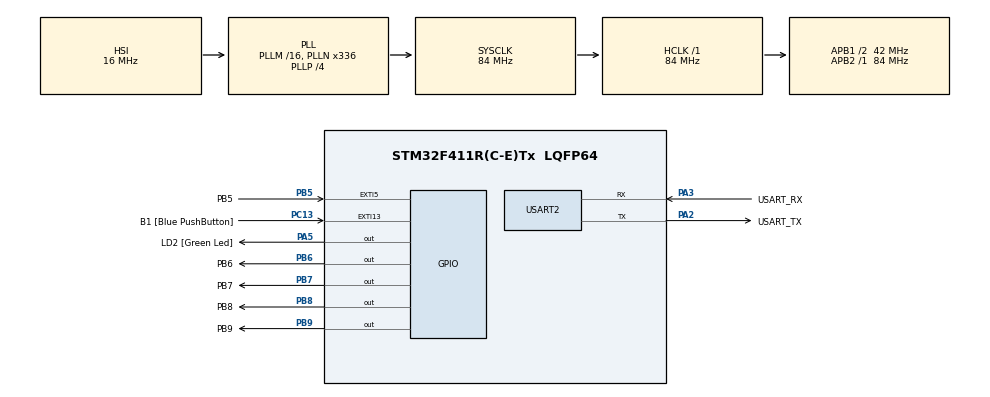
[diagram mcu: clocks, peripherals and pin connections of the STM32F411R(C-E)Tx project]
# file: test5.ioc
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Mcu.Family=STM32F4
Mcu.Name=STM32F411R(C-E)Tx
Mcu.Package=LQFP64
NVIC.EXTI9_5_IRQn=true\:0\:0\:false\:false\:true\:true\:true\:true
NVIC.PriorityGroup=NVIC_PRIORITYGROUP_0
NVIC.TIM1_TRG_COM_TIM11_IRQn=true\:0\:0\:false\:false\:true\:true\:true\:true
NVIC.TIM1_UP_TIM10_IRQn=true\:0\:0\:false\:false\:true\:true\:true\:true
PA13.GPIO_Label=TMS
PA13.Mode=Serial_Wire
PA13.Signal=SYS_JTMS-SWDIO
PA14.GPIO_Label=TCK
PA14.Mode=Serial_Wire
PA14.Signal=SYS_JTCK-SWCLK
PA2.GPIO_Label=USART_TX
PA2.Mode=Asynchronous
PA2.Signal=USART2_TX
PA3.GPIO_Label=USART_RX
PA3.Mode=Asynchronous
PA3.Signal=USART2_RX
PA5.GPIO_Label=LD2 [Green Led]
PA5.Signal=GPIO_Output
PB3.GPIO_Label=SWO
PB3.Signal=SYS_JTDO-SWO
PB5.GPIO_Label=PB5
PB5.GPIO_ModeDefaultEXTI=GPIO_MODE_IT_FALLING
PB5.GPIO_PuPd=GPIO_PULLUP
PB5.Signal=GPXTI5
PB6.GPIO_Label=PB6
PB6.Signal=GPIO_Output
PB7.GPIO_Label=PB7
PB7.Signal=GPIO_Output
PB8.GPIO_Label=PB8
PB8.Signal=GPIO_Output
PB9.GPIO_Label=PB9
PB9.Signal=GPIO_Output
PC13-ANTI_TAMP.GPIO_Label=B1 [Blue PushButton]
PC13-ANTI_TAMP.GPIO_ModeDefaultEXTI=GPIO_MODE_IT_FALLING
PC13-ANTI_TAMP.Signal=GPXTI13
PC14-OSC32_IN.Mode=LSE-External-Oscillator
PC14-OSC32_IN.Signal=RCC_OSC32_IN
PC15-OSC32_OUT.Mode=LSE-External-Oscillator
PC15-OSC32_OUT.Signal=RCC_OSC32_OUT
PH0\ -\ OSC_IN.Mode=HSE-External-Clock-Source
PH0\ -\ OSC_IN.Signal=RCC_OSC_IN
PH1\ -\ OSC_OUT.Mode=HSE-External-Clock-Source
PH1\ -\ OSC_OUT.Signal=RCC_OSC_OUT
ProjectManager.HeapSize=0x200
ProjectManager.StackSize=0x400
ProjectManager.TargetToolchain=STM32CubeIDE
RCC.48MHZClocksFreq_Value=84000000
RCC.AHBFreq_Value=84000000
RCC.APB1CLKDivider=RCC_HCLK_DIV2
RCC.APB1Freq_Value=42000000
RCC.APB1TimFreq_Value=84000000
RCC.APB2Freq_Value=84000000
RCC.APB2TimFreq_Value=84000000
RCC.CortexFreq_Value=84000000
RCC.FLatency-AdvancedSettings=FLASH_LATENCY_2
RCC.HCLKFreq_Value=84000000
RCC.HSE_VALUE=8000000
RCC.HSI_VALUE=16000000
RCC.PLLN=336
RCC.PLLP=RCC_PLLP_DIV4
RCC.SYSCLKFreq_VALUE=84000000
RCC.SYSCLKSource=RCC_SYSCLKSOURCE_PLLCLK
RCC.VCOOutputFreq_Value=336000000
TIM10.Period=499
TIM10.Prescaler=8399
TIM11.Period=4999
TIM11.Prescaler=8399
USART2.VirtualMode=VM_ASYNC
VP_TIM10_VS_ClockSourceINT.Mode=Enable_Timer
VP_TIM11_VS_ClockSourceINT.Mode=Enable_Timer
board=NUCLEO-F411RE

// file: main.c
/* USER CODE BEGIN Header */
/**
  ******************************************************************************
  * @file           : main.c
  * @brief          : Main program body
  ******************************************************************************
  * @attention
  *
  * Copyright (c) 2024 STMicroelectronics.
  * All rights reserved.
  *
  * This software is licensed under terms that can be found in the LICENSE file
  * in the root directory of this software component.
  * If no LICENSE file comes with this software, it is provided AS-IS.
  *
  ******************************************************************************
  */
/* USER CODE END Header */
#include "main.h"

TIM_HandleTypeDef htim10;
TIM_HandleTypeDef htim11;

UART_HandleTypeDef huart2;

/* USER CODE BEGIN PV */
// led flag
volatile uint8_t led_flag = 0;

// button bounce timer
volatile uint8_t button_flag = 1;

// struct LED
GPIO_InitTypeDef GPIO_InitStruct = {0};

// Serial variables
volatile uint8_t buf_tx[100];
volatile uint16_t tx_cnt;
/* USER CODE END PV */

void SystemClock_Config(void);
static void MX_GPIO_Init(void);
static void MX_USART2_UART_Init(void);
static void MX_TIM11_Init(void);
static void MX_TIM10_Init(void);
/* USER CODE BEGIN PFP */
void HAL_TIM_PeriodElapsedCallback(TIM_HandleTypeDef *htim) {
	// timer dla LED
	if (htim->Instance == TIM11) {
		if (led_flag == 0) {

			// zielona 1
			// Ustawieie wysokiej impedancji dla pinu 7 i 9
			GPIO_InitStruct.Pin = PB7_Pin|PB9_Pin;
			GPIO_InitStruct.Mode = GPIO_MODE_INPUT;
		    GPIO_InitStruct.Pull = GPIO_NOPULL;
			HAL_GPIO_Init(GPIOB, &GPIO_InitStruct);

			// Ustawienie output dla pinu 6 i 8
			GPIO_InitStruct.Pin = PB6_Pin|PB8_Pin;
			GPIO_InitStruct.Mode = GPIO_MODE_OUTPUT_PP;
			GPIO_InitStruct.Pull = GPIO_NOPULL;
			GPIO_InitStruct.Speed = GPIO_SPEED_FREQ_LOW;
			HAL_GPIO_Init(GPIOB, &GPIO_InitStruct);

			// Zapalenie diody zielona 1
			HAL_GPIO_WritePin(PB6_GPIO_Port, PB6_Pin, GPIO_PIN_SET);
			HAL_GPIO_WritePin(PB9_GPIO_Port, PB8_Pin, GPIO_PIN_RESET);

			// zmiana diody na czerwoną
			led_flag = 1;
		}

		else if (led_flag == 1) {

			// czerwona 1
			// Ustawieie wysokiej impedancji dla pinu 8 i 9
			GPIO_InitStruct.Pin = PB8_Pin|PB9_Pin;
			GPIO_InitStruct.Mode = GPIO_MODE_INPUT;
			GPIO_InitStruct.Pull = GPIO_NOPULL;
			HAL_GPIO_Init(GPIOB, &GPIO_InitStruct);

			// Ustawienie output dla pinu 6 i 7
			GPIO_InitStruct.Pin = PB6_Pin|PB7_Pin;
			GPIO_InitStruct.Mode = GPIO_MODE_OUTPUT_PP;
			GPIO_InitStruct.Pull = GPIO_NOPULL;
			GPIO_InitStruct.Speed = GPIO_SPEED_FREQ_LOW;
			HAL_GPIO_Init(GPIOB, &GPIO_InitStruct);

			// Zapalenie diody czerwona 1
			HAL_GPIO_WritePin(PB6_GPIO_Port, PB6_Pin, GPIO_PIN_SET);
			HAL_GPIO_WritePin(PB9_GPIO_Port, PB7_Pin, GPIO_PIN_RESET);

			// zmiana diody na zielona
			led_flag = 0;
		}
	}

	// timer dla button bouncing
	if (htim->Instance == TIM10){
		if(HAL_GPIO_ReadPin(PB5_GPIO_Port, PB5_Pin) == GPIO_PIN_RESET) {
			// wysylanie przez uart
			tx_cnt = snprintf(buf_tx, sizeof(buf_tx), "Chodzilem na wyklad\n");
			HAL_UART_Transmit(&huart2, buf_tx, tx_cnt, HAL_MAX_DELAY);
		}
		// zmiana flagi dla przycisku
		button_flag = 1;
		// zatrzymanie timera
		HAL_TIM_Base_Stop_IT(&htim10);
	}
}

void HAL_GPIO_EXTI_Callback(uint16_t GPIO_Pin) {
	if(GPIO_Pin == PB5_Pin && button_flag == 1) {
		// wlaczenie timera
		HAL_TIM_Base_Start_IT(&htim10);

		// zmiana flagi dla przycisku
		button_flag = 0;
	}

	else {
		// nie uzywane
		__NOP();
	}
}

/* USER CODE END PFP */

int main(void)
{

  /* MCU Configuration--------------------------------------------------------*/

  /* Reset of all peripherals, Initializes the Flash interface and the Systick. */
  HAL_Init();

  /* Configure the system clock */
  SystemClock_Config();

  /* Initialize all configured peripherals */
  MX_GPIO_Init();
  MX_USART2_UART_Init();
  MX_TIM11_Init();
  MX_TIM10_Init();
  /* USER CODE BEGIN 2 */
  HAL_TIM_Base_Start_IT(&htim11);
  /* USER CODE END 2 */

  /* Infinite loop */
  while (1)
  {

  }
}

void SystemClock_Config(void)
{
  RCC_OscInitTypeDef RCC_OscInitStruct = {0};
  RCC_ClkInitTypeDef RCC_ClkInitStruct = {0};

  /** Configure the main internal regulator output voltage
  */
  __HAL_RCC_PWR_CLK_ENABLE();
  __HAL_PWR_VOLTAGESCALING_CONFIG(PWR_REGULATOR_VOLTAGE_SCALE1);

  /** Initializes the RCC Oscillators according to the specified parameters
  * in the RCC_OscInitTypeDef structure.
  */
  RCC_OscInitStruct.OscillatorType = RCC_OSCILLATORTYPE_HSI;
  RCC_OscInitStruct.HSIState = RCC_HSI_ON;
  RCC_OscInitStruct.HSICalibrationValue = RCC_HSICALIBRATION_DEFAULT;
  RCC_OscInitStruct.PLL.PLLState = RCC_PLL_ON;
  RCC_OscInitStruct.PLL.PLLSource = RCC_PLLSOURCE_HSI;
  RCC_OscInitStruct.PLL.PLLM = 16;
  RCC_OscInitStruct.PLL.PLLN = 336;
  RCC_OscInitStruct.PLL.PLLP = RCC_PLLP_DIV4;
  RCC_OscInitStruct.PLL.PLLQ = 4;
  if (HAL_RCC_OscConfig(&RCC_OscInitStruct) != HAL_OK)
  {
    Error_Handler();
  }

  /** Initializes the CPU, AHB and APB buses clocks
  */
  RCC_ClkInitStruct.ClockType = RCC_CLOCKTYPE_HCLK|RCC_CLOCKTYPE_SYSCLK
                              |RCC_CLOCKTYPE_PCLK1|RCC_CLOCKTYPE_PCLK2;
  RCC_ClkInitStruct.SYSCLKSource = RCC_SYSCLKSOURCE_PLLCLK;
  RCC_ClkInitStruct.AHBCLKDivider = RCC_SYSCLK_DIV1;
  RCC_ClkInitStruct.APB1CLKDivider = RCC_HCLK_DIV2;
  RCC_ClkInitStruct.APB2CLKDivider = RCC_HCLK_DIV1;

  if (HAL_RCC_ClockConfig(&RCC_ClkInitStruct, FLASH_LATENCY_2) != HAL_OK)
  {
    Error_Handler();
  }
}

static void MX_TIM10_Init(void)
{

  htim10.Instance = TIM10;
  htim10.Init.Prescaler = 8399;
  htim10.Init.CounterMode = TIM_COUNTERMODE_UP;
  htim10.Init.Period = 499;
  htim10.Init.ClockDivision = TIM_CLOCKDIVISION_DIV1;
  htim10.Init.AutoReloadPreload = TIM_AUTORELOAD_PRELOAD_DISABLE;
  if (HAL_TIM_Base_Init(&htim10) != HAL_OK)
  {
    Error_Handler();
  }

}

static void MX_TIM11_Init(void)
{

  htim11.Instance = TIM11;
  htim11.Init.Prescaler = 8399;
  htim11.Init.CounterMode = TIM_COUNTERMODE_UP;
  htim11.Init.Period = 4999;
  htim11.Init.ClockDivision = TIM_CLOCKDIVISION_DIV1;
  htim11.Init.AutoReloadPreload = TIM_AUTORELOAD_PRELOAD_DISABLE;
  if (HAL_TIM_Base_Init(&htim11) != HAL_OK)
  {
    Error_Handler();
  }

}

static void MX_USART2_UART_Init(void)
{

  huart2.Instance = USART2;
  huart2.Init.BaudRate = 115200;
  huart2.Init.WordLength = UART_WORDLENGTH_8B;
  huart2.Init.StopBits = UART_STOPBITS_1;
  huart2.Init.Parity = UART_PARITY_NONE;
  huart2.Init.Mode = UART_MODE_TX_RX;
  huart2.Init.HwFlowCtl = UART_HWCONTROL_NONE;
  huart2.Init.OverSampling = UART_OVERSAMPLING_16;
  if (HAL_UART_Init(&huart2) != HAL_OK)
  {
    Error_Handler();
  }

}

static void MX_GPIO_Init(void)
{
  GPIO_InitTypeDef GPIO_InitStruct = {0};

  /* GPIO Ports Clock Enable */
  __HAL_RCC_GPIOC_CLK_ENABLE();
  __HAL_RCC_GPIOH_CLK_ENABLE();
  __HAL_RCC_GPIOA_CLK_ENABLE();
  __HAL_RCC_GPIOB_CLK_ENABLE();

  /*Configure GPIO pin Output Level */
  HAL_GPIO_WritePin(LD2_GPIO_Port, LD2_Pin, GPIO_PIN_RESET);

  /*Configure GPIO pin Output Level */
  HAL_GPIO_WritePin(GPIOB, PB6_Pin|PB7_Pin|PB8_Pin|PB9_Pin, GPIO_PIN_RESET);

  /*Configure GPIO pin : B1_Pin */
  GPIO_InitStruct.Pin = B1_Pin;
  GPIO_InitStruct.Mode = GPIO_MODE_IT_FALLING;
  GPIO_InitStruct.Pull = GPIO_NOPULL;
  HAL_GPIO_Init(B1_GPIO_Port, &GPIO_InitStruct);

  /*Configure GPIO pin : LD2_Pin */
  GPIO_InitStruct.Pin = LD2_Pin;
  GPIO_InitStruct.Mode = GPIO_MODE_OUTPUT_PP;
  GPIO_InitStruct.Pull = GPIO_NOPULL;
  GPIO_InitStruct.Speed = GPIO_SPEED_FREQ_LOW;
  HAL_GPIO_Init(LD2_GPIO_Port, &GPIO_InitStruct);

  /*Configure GPIO pin : PB5_Pin */
  GPIO_InitStruct.Pin = PB5_Pin;
  GPIO_InitStruct.Mode = GPIO_MODE_IT_FALLING;
  GPIO_InitStruct.Pull = GPIO_PULLUP;
  HAL_GPIO_Init(PB5_GPIO_Port, &GPIO_InitStruct);

  /*Configure GPIO pins : PB6_Pin PB7_Pin PB8_Pin PB9_Pin */
  GPIO_InitStruct.Pin = PB6_Pin|PB7_Pin|PB8_Pin|PB9_Pin;
  GPIO_InitStruct.Mode = GPIO_MODE_OUTPUT_PP;
  GPIO_InitStruct.Pull = GPIO_NOPULL;
  GPIO_InitStruct.Speed = GPIO_SPEED_FREQ_LOW;
  HAL_GPIO_Init(GPIOB, &GPIO_InitStruct);

  /* EXTI interrupt init*/
  HAL_NVIC_SetPriority(EXTI9_5_IRQn, 0, 0);
  HAL_NVIC_EnableIRQ(EXTI9_5_IRQn);

}

void Error_Handler(void)
{
  __disable_irq();
  while (1)
  {
  }
}
